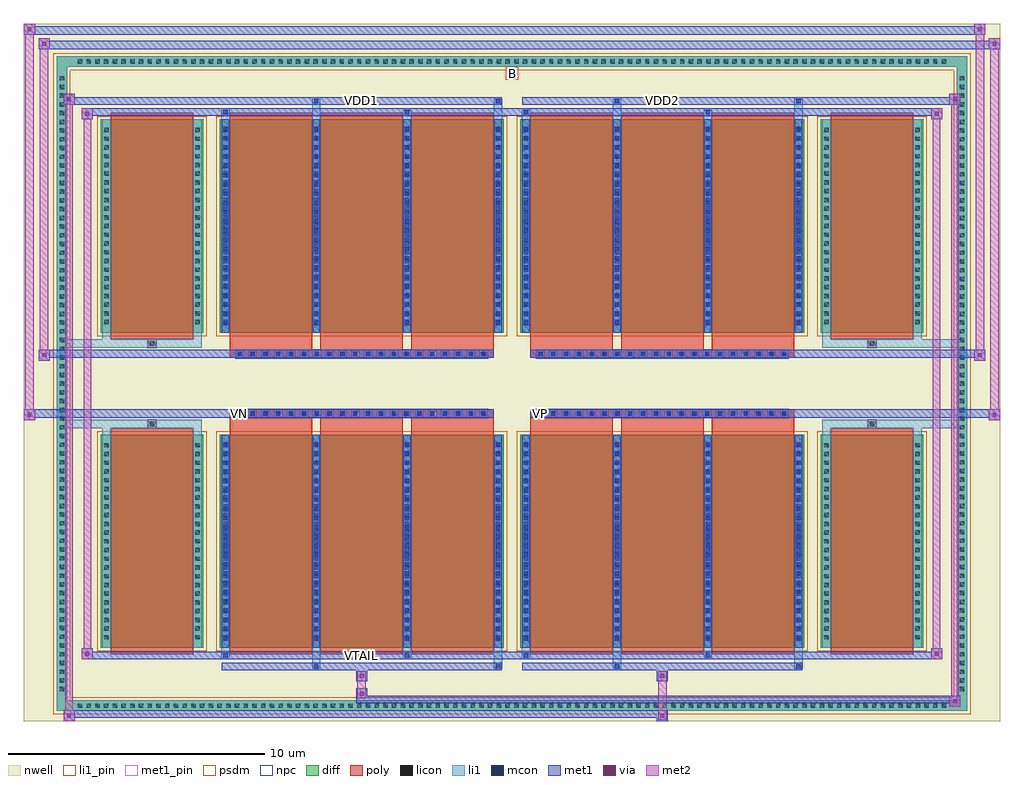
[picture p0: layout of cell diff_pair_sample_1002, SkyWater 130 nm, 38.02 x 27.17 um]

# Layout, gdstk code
import gdstk
lib = gdstk.Library(unit=1e-6, precision=5e-09)
def R(c, l, rs):  # rectangles x0, y0, x1, y1
    for r in rs: c.add(gdstk.rectangle(r[:2], r[2:], *l))
def A(c, l, x, y, w, h, nx, ny, dx, dy):  # array of equal rectangles
    R(c, l, [(x+i*dx, y+j*dy, x+i*dx+w, y+j*dy+h) for i in range(nx) for j in range(ny)])
def P(c, l, *ps):  # polygons
    for p in ps: c.add(gdstk.Polygon(p, *l))
nwell = (64, 20)
diff = (65, 20)
poly = (66, 20)
licon = (66, 44)
li1_pin = (67, 16)
li1 = (67, 20)
mcon = (67, 44)
met1_pin = (68, 16)
met1 = (68, 20)
via = (68, 44)
met2 = (69, 20)
psdm = (94, 20)
npc = (95, 20)

diff_pair_sample_1002 = lib.new_cell('diff_pair_sample_1002')
R(diff_pair_sample_1002, nwell, [(-19.01,-13.15,19.01,14.02), (-16.33,-11.34,-0.01,-0.8), (0.01,-11.34,16.33,-0.8), (-16.33,0.8,-0.01,11.34), (0.01,0.8,16.33,11.34)])
A(diff_pair_sample_1002, diff, -17.035, -12.75, 0.41, 0.41, 100, 2, 0.34, 25.09)
A(diff_pair_sample_1002, diff, -17.74, -12.105, 0.41, 0.41, 1, 71, 0, 0.34)
A(diff_pair_sample_1002, diff, 17.33, -12.105, 0.41, 0.41, 1, 71, 0, 0.34)
R(diff_pair_sample_1002, diff, [(-17.035,-12.75,17.035,-12.34), (-17.74,-12.105,-17.33,12.105), (17.33,-12.105,17.74,12.105), (-16.02,-10.295,-12.03,-1.985), (-11.39,-10.295,-0.32,-1.985), (0.32,-10.295,11.39,-1.985), (12.03,-10.295,16.02,-1.985), (-16.02,1.985,-12.03,10.295), (-11.39,1.985,-0.32,10.295), (0.32,1.985,11.39,10.295), (12.03,1.985,16.02,10.295), (-17.035,12.34,17.035,12.75)])
P(diff_pair_sample_1002, diff, [(17.74,12.75),(-17.74,12.75),(-17.74,-12.34),(-17.33,-12.34),(-17.33,12.34),(17.33,12.34),(17.33,-12.34),(-17.33,-12.34),(-17.74,-12.34),(-17.74,-12.75),(17.74,-12.75)])
A(diff_pair_sample_1002, poly, -11, -10.545, 3.21, 8.81, 3, 2, 3.54, 12.28)
A(diff_pair_sample_1002, poly, 0.71, -10.545, 3.21, 8.81, 3, 2, 3.54, 12.28)
A(diff_pair_sample_1002, poly, -11, -1.735, 3.21, 0.405, 3, 2, 3.54, 3.065)
A(diff_pair_sample_1002, poly, 0.71, -1.735, 3.21, 0.405, 3, 2, 3.54, 3.065)
A(diff_pair_sample_1002, poly, -10.77, -1.33, 0.33, 0.33, 20, 2, 0.5, 2.33)
A(diff_pair_sample_1002, poly, 0.94, -1.33, 0.33, 0.33, 20, 2, 0.5, 2.33)
R(diff_pair_sample_1002, poly, [(-15.63,-10.545,-12.42,-1.735), (12.42,-10.545,15.63,-1.735), (-14.19,-1.735,-13.86,-1.405), (-14.19,-1.735,-13.86,-1.405), (13.86,-1.735,14.19,-1.405), (13.86,-1.735,14.19,-1.405), (-11,-1.33,-0.71,-1), (0.71,-1.33,11,-1), (-11,1,-0.71,1.33), (0.71,1,11,1.33), (-14.19,1.405,-13.86,1.735), (-14.19,1.405,-13.86,1.735), (13.86,1.405,14.19,1.735), (13.86,1.405,14.19,1.735), (-15.63,1.735,-12.42,10.545), (12.42,1.735,15.63,10.545)])
A(diff_pair_sample_1002, licon, -16.915, -12.63, 0.17, 0.17, 100, 2, 0.34, 25.09)
A(diff_pair_sample_1002, licon, -17.62, -11.985, 0.17, 0.17, 1, 71, 0, 0.34)
A(diff_pair_sample_1002, licon, 17.45, -11.985, 0.17, 0.17, 1, 71, 0, 0.34)
A(diff_pair_sample_1002, licon, -15.88, -9.965, 0.17, 0.17, 1, 23, 0, 0.34)
A(diff_pair_sample_1002, licon, -12.34, -9.965, 0.17, 0.17, 1, 23, 0, 0.34)
A(diff_pair_sample_1002, licon, -11.25, -9.965, 0.17, 0.17, 4, 23, 3.54, 0.34)
A(diff_pair_sample_1002, licon, 0.46, -9.965, 0.17, 0.17, 4, 23, 3.54, 0.34)
A(diff_pair_sample_1002, licon, 12.17, -9.965, 0.17, 0.17, 1, 23, 0, 0.34)
A(diff_pair_sample_1002, licon, 15.71, -9.965, 0.17, 0.17, 1, 23, 0, 0.34)
A(diff_pair_sample_1002, licon, -10.69, -1.25, 0.17, 0.17, 20, 2, 0.5, 2.33)
A(diff_pair_sample_1002, licon, 1.02, -1.25, 0.17, 0.17, 20, 2, 0.5, 2.33)
A(diff_pair_sample_1002, licon, -15.88, 2.315, 0.17, 0.17, 1, 23, 0, 0.34)
A(diff_pair_sample_1002, licon, -12.34, 2.315, 0.17, 0.17, 1, 23, 0, 0.34)
A(diff_pair_sample_1002, licon, -11.25, 2.315, 0.17, 0.17, 4, 23, 3.54, 0.34)
A(diff_pair_sample_1002, licon, 0.46, 2.315, 0.17, 0.17, 4, 23, 3.54, 0.34)
A(diff_pair_sample_1002, licon, 12.17, 2.315, 0.17, 0.17, 1, 23, 0, 0.34)
A(diff_pair_sample_1002, licon, 15.71, 2.315, 0.17, 0.17, 1, 23, 0, 0.34)
R(diff_pair_sample_1002, licon, [(-14.11,-1.655,-13.94,-1.485), (13.94,-1.655,14.11,-1.485), (-14.11,1.485,-13.94,1.655), (13.94,1.485,14.11,1.655)])
R(diff_pair_sample_1002, li1_pin, [(-0.25,11.84,0.25,12.34)])
A(diff_pair_sample_1002, li1, -16.995, -12.71, 0.33, 0.33, 100, 2, 0.34, 25.09)
A(diff_pair_sample_1002, li1, -17.7, -12.065, 0.33, 0.33, 1, 71, 0, 0.34)
A(diff_pair_sample_1002, li1, 17.37, -12.065, 0.33, 0.33, 1, 71, 0, 0.34)
A(diff_pair_sample_1002, li1, -11.33, -10.295, 0.33, 8.31, 4, 2, 3.54, 12.28)
A(diff_pair_sample_1002, li1, 0.38, -10.295, 0.33, 8.31, 4, 2, 3.54, 12.28)
A(diff_pair_sample_1002, li1, -15.96, -10.045, 0.33, 0.33, 1, 23, 0, 0.34)
A(diff_pair_sample_1002, li1, -12.42, -10.045, 0.33, 0.33, 1, 23, 0, 0.34)
A(diff_pair_sample_1002, li1, -11.33, -10.045, 0.33, 0.33, 4, 23, 3.54, 0.34)
A(diff_pair_sample_1002, li1, 0.38, -10.045, 0.33, 0.33, 4, 23, 3.54, 0.34)
A(diff_pair_sample_1002, li1, 12.09, -10.045, 0.33, 0.33, 1, 23, 0, 0.34)
A(diff_pair_sample_1002, li1, 15.63, -10.045, 0.33, 0.33, 1, 23, 0, 0.34)
A(diff_pair_sample_1002, li1, -11.25, -10.005, 0.17, 0.17, 4, 22, 3.54, 0.36)
A(diff_pair_sample_1002, li1, -11.25, -10.005, 0.17, 7.73, 4, 2, 3.54, 12.28)
A(diff_pair_sample_1002, li1, 0.46, -10.005, 0.17, 0.17, 4, 22, 3.54, 0.36)
A(diff_pair_sample_1002, li1, 0.46, -10.005, 0.17, 7.73, 4, 2, 3.54, 12.28)
A(diff_pair_sample_1002, li1, -10.77, -1.33, 0.33, 0.33, 20, 2, 0.5, 2.33)
A(diff_pair_sample_1002, li1, 0.94, -1.33, 0.33, 0.33, 20, 2, 0.5, 2.33)
A(diff_pair_sample_1002, li1, -15.96, 2.235, 0.33, 0.33, 1, 23, 0, 0.34)
A(diff_pair_sample_1002, li1, -12.42, 2.235, 0.33, 0.33, 1, 23, 0, 0.34)
A(diff_pair_sample_1002, li1, -11.33, 2.235, 0.33, 0.33, 4, 23, 3.54, 0.34)
A(diff_pair_sample_1002, li1, 0.38, 2.235, 0.33, 0.33, 4, 23, 3.54, 0.34)
A(diff_pair_sample_1002, li1, 12.09, 2.235, 0.33, 0.33, 1, 23, 0, 0.34)
A(diff_pair_sample_1002, li1, 15.63, 2.235, 0.33, 0.33, 1, 23, 0, 0.34)
A(diff_pair_sample_1002, li1, -11.25, 2.275, 0.17, 0.17, 4, 22, 3.54, 0.36)
A(diff_pair_sample_1002, li1, 0.46, 2.275, 0.17, 0.17, 4, 22, 3.54, 0.36)
R(diff_pair_sample_1002, li1, [(-17.74,-12.75,-17.33,-12.34), (-17.74,-12.75,-17.33,-12.34), (-17.33,-12.75,17.33,-12.34), (17.33,-12.75,17.74,-12.34), (17.33,-12.75,17.74,-12.34), (-17.74,-12.34,-17.33,12.34), (17.33,-12.34,17.74,12.34), (-7.79,-11.1,-7.46,-10.295), (-7.71,-11.1,-7.54,-10.93), (-0.71,-11.1,-0.38,-10.295), (-0.63,-11.1,-0.46,-10.93), (3.92,-11.1,4.25,-10.295), (4,-11.1,4.17,-10.93), (11,-11.1,11.33,-10.295), (11.08,-11.1,11.25,-10.93), (-11.33,-10.67,-11,-10.295), (-11.25,-10.67,-11.08,-10.5), (-4.25,-10.67,-3.92,-10.295), (-4.17,-10.67,-4,-10.5), (0.38,-10.67,0.71,-10.295), (0.46,-10.67,0.63,-10.5), (7.46,-10.67,7.79,-10.295), (7.54,-10.67,7.71,-10.5), (-15.96,-10.295,-15.63,-1.985), (-12.42,-10.295,-12.09,-1.985), (12.09,-10.295,12.42,-1.985), (15.63,-10.295,15.96,-1.985), (-15.96,-1.985,-15.63,-1.405), (-12.42,-1.985,-12.09,-1.405), (12.09,-1.985,12.42,-1.405), (15.63,-1.985,15.96,-1.405), (-17.74,-1.735,-14.19,-1.405), (-15.96,-1.735,-14.19,-1.405), (-14.19,-1.735,-13.86,-1.405), (-13.86,-1.735,-12.09,-1.405), (12.09,-1.735,13.86,-1.405), (13.86,-1.735,14.19,-1.405), (13.86,-1.735,17.74,-1.405), (14.19,-1.735,15.96,-1.405), (-17.74,1.405,-14.19,1.735), (-15.96,1.405,-14.19,1.735), (-15.96,1.405,-15.63,1.985), (-14.19,1.405,-13.86,1.735), (-13.86,1.405,-12.09,1.735), (-12.42,1.405,-12.09,1.985), (12.09,1.405,13.86,1.735), (12.09,1.405,12.42,1.985), (13.86,1.405,14.19,1.735), (13.86,1.405,17.74,1.735), (14.19,1.405,15.96,1.735), (15.63,1.405,15.96,1.985), (-15.96,1.985,-15.63,10.295), (-12.42,1.985,-12.09,10.295), (12.09,1.985,12.42,10.295), (15.63,1.985,15.96,10.295), (-11.33,10.295,-11,10.67), (-7.79,10.295,-7.46,11.1), (-4.25,10.295,-3.92,10.67), (-0.71,10.295,-0.38,11.1), (0.38,10.295,0.71,10.67), (3.92,10.295,4.25,11.1), (7.46,10.295,7.79,10.67), (11,10.295,11.33,11.1), (-11.25,10.5,-11.08,10.67), (-4.17,10.5,-4,10.67), (0.46,10.5,0.63,10.67), (7.54,10.5,7.71,10.67), (-7.71,10.93,-7.54,11.1), (-0.63,10.93,-0.46,11.1), (4,10.93,4.17,11.1), (11.08,10.93,11.25,11.1), (-17.74,12.34,-17.33,12.75), (-17.74,12.34,-17.33,12.75), (-17.33,12.34,17.33,12.75), (17.33,12.34,17.74,12.75), (17.33,12.34,17.74,12.75)])
A(diff_pair_sample_1002, mcon, -11.25, -10.005, 0.17, 0.17, 4, 22, 3.54, 0.36)
A(diff_pair_sample_1002, mcon, 0.46, -10.005, 0.17, 0.17, 4, 22, 3.54, 0.36)
A(diff_pair_sample_1002, mcon, -10.69, -1.25, 0.17, 0.17, 20, 2, 0.5, 2.33)
A(diff_pair_sample_1002, mcon, 1.02, -1.25, 0.17, 0.17, 20, 2, 0.5, 2.33)
A(diff_pair_sample_1002, mcon, -11.25, 2.275, 0.17, 0.17, 4, 22, 3.54, 0.36)
A(diff_pair_sample_1002, mcon, 0.46, 2.275, 0.17, 0.17, 4, 22, 3.54, 0.36)
R(diff_pair_sample_1002, mcon, [(-7.71,-11.1,-7.54,-10.93), (-0.63,-11.1,-0.46,-10.93), (4,-11.1,4.17,-10.93), (11.08,-11.1,11.25,-10.93), (-11.25,-10.67,-11.08,-10.5), (-4.17,-10.67,-4,-10.5), (0.46,-10.67,0.63,-10.5), (7.54,-10.67,7.71,-10.5), (-11.25,10.5,-11.08,10.67), (-4.17,10.5,-4,10.67), (0.46,10.5,0.63,10.67), (7.54,10.5,7.71,10.67), (-7.71,10.93,-7.54,11.1), (-0.63,10.93,-0.46,11.1), (4,10.93,4.17,11.1), (11.08,10.93,11.25,11.1)])
R(diff_pair_sample_1002, met1_pin, [(-5.99,-10.71,-5.72,-10.44), (-10.74,-1.29,-10.47,-1.02), (0.97,-1.29,1.24,-1.02), (-5.99,10.89,-5.72,11.16), (5.72,10.89,5.99,11.16)])
A(diff_pair_sample_1002, met1, -11.31, -10.295, 0.29, 8.31, 4, 2, 3.54, 12.28)
A(diff_pair_sample_1002, met1, 0.4, -10.295, 0.29, 8.31, 4, 2, 3.54, 12.28)
A(diff_pair_sample_1002, met1, -11.31, -10.065, 0.29, 0.29, 4, 22, 3.54, 0.36)
A(diff_pair_sample_1002, met1, 0.4, -10.065, 0.29, 0.29, 4, 22, 3.54, 0.36)
A(diff_pair_sample_1002, met1, -10.75, -1.31, 0.29, 0.29, 20, 2, 0.5, 2.33)
A(diff_pair_sample_1002, met1, 0.96, -1.31, 0.29, 0.29, 20, 2, 0.5, 2.33)
A(diff_pair_sample_1002, met1, -11.31, 2.215, 0.29, 0.29, 4, 22, 3.54, 0.36)
A(diff_pair_sample_1002, met1, 0.4, 2.215, 0.29, 0.29, 4, 22, 3.54, 0.36)
R(diff_pair_sample_1002, met1, [(-17.47,-13.15,-17.04,-12.72), (5.64,-13.15,6.07,-12.72), (-17.47,-13.01,6.07,-12.72), (17.04,-12.58,17.47,-12.15), (-6.07,-12.44,17.47,-12.15), (-6.07,-12.3,-5.64,-11.87), (-6.07,-11.59,-5.64,-11.16), (5.64,-11.59,6.07,-11.16), (-11.31,-11.16,-0.4,-10.87), (-7.77,-11.16,-7.48,-10.87), (-0.69,-11.16,-0.4,-10.87), (0.4,-11.16,11.31,-10.87), (3.94,-11.16,4.23,-10.87), (11.02,-11.16,11.31,-10.87), (-16.76,-10.73,-16.33,-10.3), (-16.76,-10.73,-11.31,-10.44), (-11.31,-10.73,-11.02,-10.44), (-11.31,-10.73,-0.4,-10.44), (-4.23,-10.73,-3.94,-10.44), (-0.4,-10.73,0.4,-10.44), (0.4,-10.73,0.69,-10.44), (0.4,-10.73,11.31,-10.44), (7.48,-10.73,7.77,-10.44), (11.31,-10.73,16.76,-10.44), (16.33,-10.73,16.76,-10.3), (-19.01,-1.43,-18.58,-1), (18.58,-1.43,19.01,-1), (-19.01,-1.33,-0.71,-1), (-11,-1.33,-0.71,-1), (0.71,-1.33,11,-1), (0.71,-1.33,19.01,-1), (-18.44,0.9,-18.01,1.33), (18.01,0.9,18.44,1.33), (-18.44,1,-11,1.33), (-11,1,-0.71,1.33), (0.71,1,11,1.33), (11,1,18.44,1.33), (-16.76,10.3,-16.33,10.73), (16.33,10.3,16.76,10.73), (-16.76,10.44,-11.31,10.73), (-11.31,10.44,-11.02,10.73), (-11.31,10.44,-0.4,10.73), (-4.23,10.44,-3.94,10.73), (-0.4,10.44,0.4,10.73), (0.4,10.44,0.69,10.73), (0.4,10.44,11.31,10.73), (7.48,10.44,7.77,10.73), (11.31,10.44,16.76,10.73), (-17.47,10.87,-17.04,11.3), (-17.47,10.87,-11.31,11.16), (-11.31,10.87,-0.4,11.16), (-7.77,10.87,-7.48,11.16), (-0.69,10.87,-0.4,11.16), (0.4,10.87,11.31,11.16), (3.94,10.87,4.23,11.16), (11.02,10.87,11.31,11.16), (11.31,10.87,17.47,11.16), (17.04,10.87,17.47,11.3), (-18.44,13.02,-18.01,13.45), (-18.44,13.02,-16.33,13.35), (-16.33,13.02,16.33,13.35), (16.33,13.02,19.01,13.35), (18.58,13.02,19.01,13.45), (-19.01,13.59,-18.58,14.02), (-19.01,13.59,-16.33,13.92), (-16.33,13.59,16.33,13.92), (16.33,13.59,18.44,13.92), (18.01,13.59,18.44,14.02)])
R(diff_pair_sample_1002, via, [(-17.33,-13.01,-17.18,-12.86), (5.78,-13.01,5.93,-12.86), (17.18,-12.44,17.33,-12.29), (-5.93,-12.16,-5.78,-12.01), (-5.93,-11.45,-5.78,-11.3), (5.78,-11.45,5.93,-11.3), (-16.62,-10.59,-16.47,-10.44), (16.47,-10.59,16.62,-10.44), (-18.87,-1.29,-18.72,-1.14), (18.72,-1.29,18.87,-1.14), (-18.3,1.04,-18.15,1.19), (18.15,1.04,18.3,1.19), (-16.62,10.44,-16.47,10.59), (16.47,10.44,16.62,10.59), (-17.33,11.01,-17.18,11.16), (17.18,11.01,17.33,11.16), (-18.3,13.16,-18.15,13.31), (18.72,13.16,18.87,13.31), (-18.87,13.73,-18.72,13.88), (18.15,13.73,18.3,13.88)])
R(diff_pair_sample_1002, met2, [(-17.47,-13.15,-17.04,-12.72), (-17.4,-13.15,-17.11,11.3), (-17.11,-13.15,-17.04,-12.72), (-17.42,-13.1,-17.09,-12.77), (5.69,-13.1,6.02,-12.77), (5.69,-12.77,6.02,-11.54), (17.04,-12.58,17.47,-12.15), (17.11,-12.58,17.4,11.3), (17.4,-12.58,17.47,-12.15), (17.09,-12.53,17.42,-12.2), (-6.02,-12.25,-5.69,-11.92), (-6.02,-11.92,-5.69,-11.54), (-6.02,-11.54,-5.69,-11.21), (5.69,-11.54,6.02,-11.21), (-16.76,-10.73,-16.33,-10.3), (-16.69,-10.73,-16.4,10.73), (-16.4,-10.73,-16.33,-10.3), (16.33,-10.73,16.76,-10.3), (16.4,-10.73,16.69,10.73), (16.69,-10.73,16.76,-10.3), (-16.71,-10.68,-16.38,-10.35), (16.38,-10.68,16.71,-10.35), (-19.01,-1.43,-18.58,-1), (-18.96,-1.43,-18.63,14.02), (-18.63,-1.43,-18.58,-1), (18.58,-1.43,19.01,-1), (18.63,-1.43,18.96,13.45), (18.96,-1.43,19.01,-1), (-18.96,-1.38,-18.63,-1.05), (18.63,-1.38,18.96,-1.05), (-18.44,0.9,-18.01,1.33), (-18.39,0.9,-18.06,13.45), (-18.06,0.9,-18.01,1.33), (18.01,0.9,18.44,1.33), (18.06,0.9,18.39,14.02), (18.39,0.9,18.44,1.33), (-18.39,0.95,-18.06,1.28), (18.06,0.95,18.39,1.28), (-16.76,10.3,-16.33,10.73), (-16.4,10.3,-16.33,10.73), (16.33,10.3,16.76,10.73), (16.69,10.3,16.76,10.73), (-16.71,10.35,-16.38,10.68), (16.38,10.35,16.71,10.68), (-17.47,10.87,-17.04,11.3), (-17.11,10.87,-17.04,11.3), (17.04,10.87,17.47,11.3), (17.4,10.87,17.47,11.3), (-17.42,10.92,-17.09,11.25), (17.09,10.92,17.42,11.25), (-18.44,13.02,-18.01,13.45), (-18.06,13.02,-18.01,13.45), (18.58,13.02,19.01,13.45), (18.96,13.02,19.01,13.45), (-18.39,13.07,-18.06,13.4), (18.63,13.07,18.96,13.4), (-19.01,13.59,-18.58,14.02), (-18.63,13.59,-18.58,14.02), (18.01,13.59,18.44,14.02), (18.39,13.59,18.44,14.02), (-18.96,13.64,-18.63,13.97), (18.06,13.64,18.39,13.97)])
R(diff_pair_sample_1002, psdm, [(-16.15,-10.425,-11.9,-1.855), (-11.52,-10.425,-0.19,-1.855), (0.19,-10.425,11.52,-1.855), (11.9,-10.425,16.15,-1.855), (-16.15,1.855,-11.9,10.425), (-11.52,1.855,-0.19,10.425), (0.19,1.855,11.52,10.425), (11.9,1.855,16.15,10.425)])
P(diff_pair_sample_1002, psdm, [(17.87,12.88),(-17.87,12.88),(-17.87,-12.21),(-17.2,-12.21),(-17.2,12.21),(17.2,12.21),(17.2,-12.21),(-17.2,-12.21),(-17.87,-12.21),(-17.87,-12.88),(17.87,-12.88)])
A(diff_pair_sample_1002, npc, -10.79, -1.35, 0.37, 0.37, 20, 2, 0.5, 2.33)
A(diff_pair_sample_1002, npc, 0.92, -1.35, 0.37, 0.37, 20, 2, 0.5, 2.33)
R(diff_pair_sample_1002, npc, [(-14.21,-1.755,-13.84,-1.385), (13.84,-1.755,14.21,-1.385), (-10.79,-1.35,-9.92,-0.98), (-10.79,-1.35,-9.92,-0.98), (-10.29,-1.35,-9.42,-0.98), (-10.29,-1.35,-9.42,-0.98), (-9.79,-1.35,-8.92,-0.98), (-9.79,-1.35,-8.92,-0.98), (-9.29,-1.35,-8.42,-0.98), (-9.29,-1.35,-8.42,-0.98), (-8.79,-1.35,-7.92,-0.98), (-8.79,-1.35,-7.92,-0.98), (-8.29,-1.35,-7.42,-0.98), (-8.29,-1.35,-7.42,-0.98), (-7.79,-1.35,-6.92,-0.98), (-7.79,-1.35,-6.92,-0.98), (-7.29,-1.35,-6.42,-0.98), (-7.29,-1.35,-6.42,-0.98), (-6.79,-1.35,-5.92,-0.98), (-6.79,-1.35,-5.92,-0.98), (-6.29,-1.35,-5.42,-0.98), (-6.29,-1.35,-5.42,-0.98), (-5.79,-1.35,-4.92,-0.98), (-5.79,-1.35,-4.92,-0.98), (-5.29,-1.35,-4.42,-0.98), (-5.29,-1.35,-4.42,-0.98), (-4.79,-1.35,-3.92,-0.98), (-4.79,-1.35,-3.92,-0.98), (-4.29,-1.35,-3.42,-0.98), (-4.29,-1.35,-3.42,-0.98), (-3.79,-1.35,-2.92,-0.98), (-3.79,-1.35,-2.92,-0.98), (-3.29,-1.35,-2.42,-0.98), (-3.29,-1.35,-2.42,-0.98), (-2.79,-1.35,-1.92,-0.98), (-2.79,-1.35,-1.92,-0.98), (-2.29,-1.35,-1.42,-0.98), (-2.29,-1.35,-1.42,-0.98), (-1.79,-1.35,-0.92,-0.98), (-1.79,-1.35,-0.92,-0.98), (0.92,-1.35,1.79,-0.98), (0.92,-1.35,1.79,-0.98), (1.42,-1.35,2.29,-0.98), (1.42,-1.35,2.29,-0.98), (1.92,-1.35,2.79,-0.98), (1.92,-1.35,2.79,-0.98), (2.42,-1.35,3.29,-0.98), (2.42,-1.35,3.29,-0.98), (2.92,-1.35,3.79,-0.98), (2.92,-1.35,3.79,-0.98), (3.42,-1.35,4.29,-0.98), (3.42,-1.35,4.29,-0.98), (3.92,-1.35,4.79,-0.98), (3.92,-1.35,4.79,-0.98), (4.42,-1.35,5.29,-0.98), (4.42,-1.35,5.29,-0.98), (4.92,-1.35,5.79,-0.98), (4.92,-1.35,5.79,-0.98), (5.42,-1.35,6.29,-0.98), (5.42,-1.35,6.29,-0.98), (5.92,-1.35,6.79,-0.98), (5.92,-1.35,6.79,-0.98), (6.42,-1.35,7.29,-0.98), (6.42,-1.35,7.29,-0.98), (6.92,-1.35,7.79,-0.98), (6.92,-1.35,7.79,-0.98), (7.42,-1.35,8.29,-0.98), (7.42,-1.35,8.29,-0.98), (7.92,-1.35,8.79,-0.98), (7.92,-1.35,8.79,-0.98), (8.42,-1.35,9.29,-0.98), (8.42,-1.35,9.29,-0.98), (8.92,-1.35,9.79,-0.98), (8.92,-1.35,9.79,-0.98), (9.42,-1.35,10.29,-0.98), (9.42,-1.35,10.29,-0.98), (9.92,-1.35,10.79,-0.98), (9.92,-1.35,10.79,-0.98), (-10.79,0.98,-9.92,1.35), (-10.79,0.98,-9.92,1.35), (-10.29,0.98,-9.42,1.35), (-10.29,0.98,-9.42,1.35), (-9.79,0.98,-8.92,1.35), (-9.79,0.98,-8.92,1.35), (-9.29,0.98,-8.42,1.35), (-9.29,0.98,-8.42,1.35), (-8.79,0.98,-7.92,1.35), (-8.79,0.98,-7.92,1.35), (-8.29,0.98,-7.42,1.35), (-8.29,0.98,-7.42,1.35), (-7.79,0.98,-6.92,1.35), (-7.79,0.98,-6.92,1.35), (-7.29,0.98,-6.42,1.35), (-7.29,0.98,-6.42,1.35), (-6.79,0.98,-5.92,1.35), (-6.79,0.98,-5.92,1.35), (-6.29,0.98,-5.42,1.35), (-6.29,0.98,-5.42,1.35), (-5.79,0.98,-4.92,1.35), (-5.79,0.98,-4.92,1.35), (-5.29,0.98,-4.42,1.35), (-5.29,0.98,-4.42,1.35), (-4.79,0.98,-3.92,1.35), (-4.79,0.98,-3.92,1.35), (-4.29,0.98,-3.42,1.35), (-4.29,0.98,-3.42,1.35), (-3.79,0.98,-2.92,1.35), (-3.79,0.98,-2.92,1.35), (-3.29,0.98,-2.42,1.35), (-3.29,0.98,-2.42,1.35), (-2.79,0.98,-1.92,1.35), (-2.79,0.98,-1.92,1.35), (-2.29,0.98,-1.42,1.35), (-2.29,0.98,-1.42,1.35), (-1.79,0.98,-0.92,1.35), (-1.79,0.98,-0.92,1.35), (0.92,0.98,1.79,1.35), (0.92,0.98,1.79,1.35), (1.42,0.98,2.29,1.35), (1.42,0.98,2.29,1.35), (1.92,0.98,2.79,1.35), (1.92,0.98,2.79,1.35), (2.42,0.98,3.29,1.35), (2.42,0.98,3.29,1.35), (2.92,0.98,3.79,1.35), (2.92,0.98,3.79,1.35), (3.42,0.98,4.29,1.35), (3.42,0.98,4.29,1.35), (3.92,0.98,4.79,1.35), (3.92,0.98,4.79,1.35), (4.42,0.98,5.29,1.35), (4.42,0.98,5.29,1.35), (4.92,0.98,5.79,1.35), (4.92,0.98,5.79,1.35), (5.42,0.98,6.29,1.35), (5.42,0.98,6.29,1.35), (5.92,0.98,6.79,1.35), (5.92,0.98,6.79,1.35), (6.42,0.98,7.29,1.35), (6.42,0.98,7.29,1.35), (6.92,0.98,7.79,1.35), (6.92,0.98,7.79,1.35), (7.42,0.98,8.29,1.35), (7.42,0.98,8.29,1.35), (7.92,0.98,8.79,1.35), (7.92,0.98,8.79,1.35), (8.42,0.98,9.29,1.35), (8.42,0.98,9.29,1.35), (8.92,0.98,9.79,1.35), (8.92,0.98,9.79,1.35), (9.42,0.98,10.29,1.35), (9.42,0.98,10.29,1.35), (9.92,0.98,10.79,1.35), (9.92,0.98,10.79,1.35), (-14.21,1.385,-13.84,1.755), (13.84,1.385,14.21,1.755)])
diff_pair_sample_1002.add(gdstk.Label('VTAIL', (-5.855,-10.575), layer=68, texttype=5))
diff_pair_sample_1002.add(gdstk.Label('VN', (-10.605,-1.155), layer=68, texttype=5))
diff_pair_sample_1002.add(gdstk.Label('VP', (1.105,-1.155), layer=68, texttype=5))
diff_pair_sample_1002.add(gdstk.Label('B', (0,12.09), layer=67, texttype=5))
diff_pair_sample_1002.add(gdstk.Label('VDD2', (5.855,11.025), layer=68, texttype=5))
diff_pair_sample_1002.add(gdstk.Label('VDD1', (-5.855,11.025), layer=68, texttype=5))

lib.write_gds('diff_pair_sample_1002.gds')
